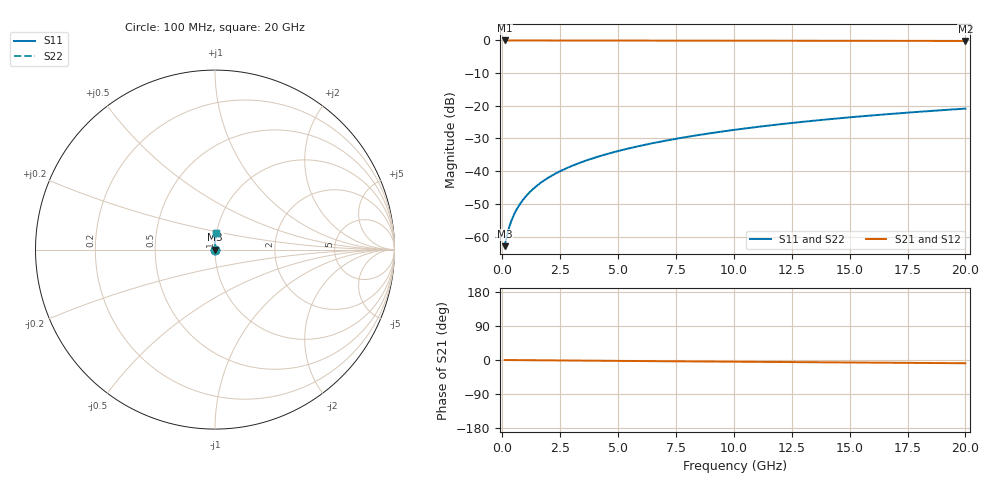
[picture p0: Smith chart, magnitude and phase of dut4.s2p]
! Touchstone file exported from HFSS 2024.1.0
!  File:  C:/UserFiles/LocalFiles/RDL_TSV_Batchsim/temp_RDL_top_4_1778679612.aedt
!  Generated:  09:42:19 PM May 13, 2026
!  Design:  RDL_top
!  Project:  temp_RDL_top_4_1778679612
!  Setup:  Setup1
!  Solution:  Sweep
! Variables:
!  dtsv = 10.80580581um
!  hbump = 3um
!  htsv = 79.47um
!  ldown = 100um
!  lrdl = 107.55um
!  p = 40
!  p1 = 41.59um
!  rhole = 1um
!  t = 450um
!  tdown = 3.915915916um
!  trdl = 4.58um
!  wdown = 15.38538539um
!  wrdl = 21.36um
# GHz S MA R 50.000000
! Terminal data exported
! Port[1] = Box2_T1
! Port[2] = Box2_T2
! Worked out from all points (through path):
!   200 points, 100 MHz to 20 GHz, reference 50 ohm
!   highest |S21| = 0.00 dB at 100 MHz (marker M1); lowest = -0.1 dB at 20 GHz (marker M2)
!   group delay of S21, straight-line fit = 1.17 ps
!   lowest |S11| = -62.9 dB at 100 MHz (marker M3), VSWR 1.00, Z = 50.1 + j0.0442 ohm
!   |S11| at or under -10 dB: start of sweep to end of sweep
!   |S22| runs from -62.9 to -20.9 dB; largest |S21 - S12| = 2.1e-15
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0.1  0.0007123 38.3  0.9994 -0.1  0.9994 -0.1  0.0007123 38.3
! Gamma 0 0 0 0
! Port Impedance 50 0 50 0
0.2  0.001043 55.5  0.9994 -0.1  0.9994 -0.1  0.001043 55.5
0.3  0.001403 63.9  0.9994 -0.2  0.9994 -0.2  0.001403 63.9
0.4  0.001769 69.0  0.9993 -0.2  0.9993 -0.2  0.001769 69.0
0.5  0.002141 72.5  0.9993 -0.2  0.9993 -0.2  0.002141 72.5
0.6  0.002518 75.1  0.9993 -0.3  0.9993 -0.3  0.002518 75.1
0.8  0.003281 78.6  0.9992 -0.4  0.9992 -0.4  0.003281 78.6
1.1  0.004444 81.7  0.9991 -0.5  0.9991 -0.5  0.004444 81.7
1.5  0.006014 84.2  0.999 -0.7  0.999 -0.7  0.006014 84.2
1.8  0.0072 85.4  0.9989 -0.9  0.9989 -0.9  0.0072 85.4
2.1  0.008394 86.3  0.9987 -1.0  0.9987 -1.0  0.008394 86.3
2.7  0.0108 87.5  0.9983 -1.3  0.9983 -1.3  0.0108 87.5
3.5  0.01405 88.7  0.9977 -1.7  0.9977 -1.7  0.01405 88.7
4.2  0.01695 89.4  0.9971 -2.0  0.9971 -2.0  0.01695 89.4
5  0.02032 89.9  0.9964 -2.4  0.9964 -2.4  0.02032 89.9
5.9  0.02419 90.4  0.9955 -2.8  0.9955 -2.8  0.02419 90.4
6.8  0.02815 90.6  0.9946 -3.2  0.9946 -3.2  0.02815 90.6
8.4  0.03537 90.7  0.993 -3.8  0.993 -3.8  0.03537 90.7
10.1  0.04326 90.4  0.9913 -4.6  0.9913 -4.6  0.04326 90.4
13.4  0.05894 89.2  0.9883 -5.9  0.9883 -5.9  0.05894 89.2
16.7  0.07479 87.7  0.9855 -7.2  0.9855 -7.2  0.07479 87.7
20  0.0906 86.0  0.9829 -8.5  0.9829 -8.5  0.0906 86.0
